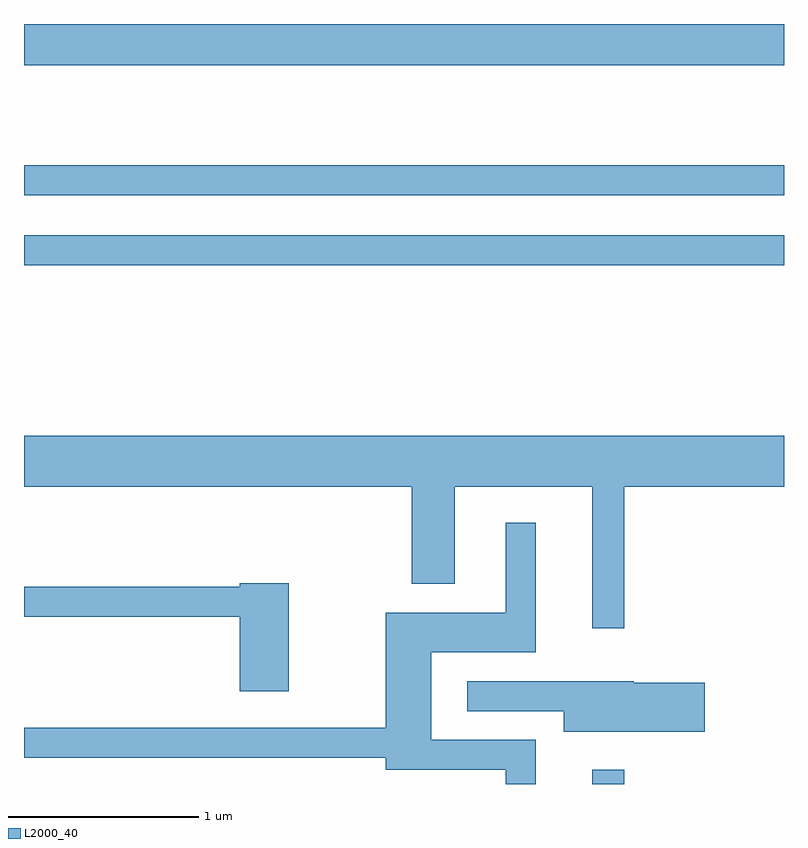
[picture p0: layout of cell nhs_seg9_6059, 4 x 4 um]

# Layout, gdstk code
import gdstk
lib = gdstk.Library(unit=1e-6, precision=1e-09)
def R(c, l, rs):  # rectangles x0, y0, x1, y1
    for r in rs: c.add(gdstk.rectangle(r[:2], r[2:], *l))
def P(c, l, *ps):  # polygons
    for p in ps: c.add(gdstk.Polygon(p, *l))
L2000_40 = (2000, 40)

nhs_seg9_6059 = lib.new_cell('nhs_seg9_6059')
R(nhs_seg9_6059, L2000_40, [(366.601,2032.432,366.769,2032.508), (363.611,2035.161,367.611,2035.319), (363.611,2035.531,367.611,2035.689), (363.611,2036.216,367.611,2036.432)])
P(nhs_seg9_6059, L2000_40, [(363.611,2033.996),(365.651,2033.996),(365.651,2033.486),(365.879,2033.486),(365.879,2033.996),(366.601,2033.996),(366.601,2033.253),(366.769,2033.253),(366.769,2033.996),(367.611,2033.996),(367.611,2034.264),(363.611,2034.264)],
  [(366.304,2032.664),(365.754,2032.664),(365.754,2033.126),(366.304,2033.126),(366.304,2033.808),(366.146,2033.808),(366.146,2033.334),(365.516,2033.334),(365.516,2032.729),(363.611,2032.729),(363.611,2032.571),(365.516,2032.571),(365.516,2032.506),(366.146,2032.506),(366.146,2032.432),(366.304,2032.432)],
  [(365.004,2033.489),(364.746,2033.489),(364.746,2033.469),(363.611,2033.469),(363.611,2033.311),(364.746,2033.311),(364.746,2032.921),(365.004,2032.921)],
  [(367.194,2032.964),(366.82,2032.964),(366.82,2032.974),(365.943,2032.974),(365.943,2032.816),(366.451,2032.816),(366.451,2032.706),(367.194,2032.706)])

lib.write_gds('nhs_seg9_6059.gds')
